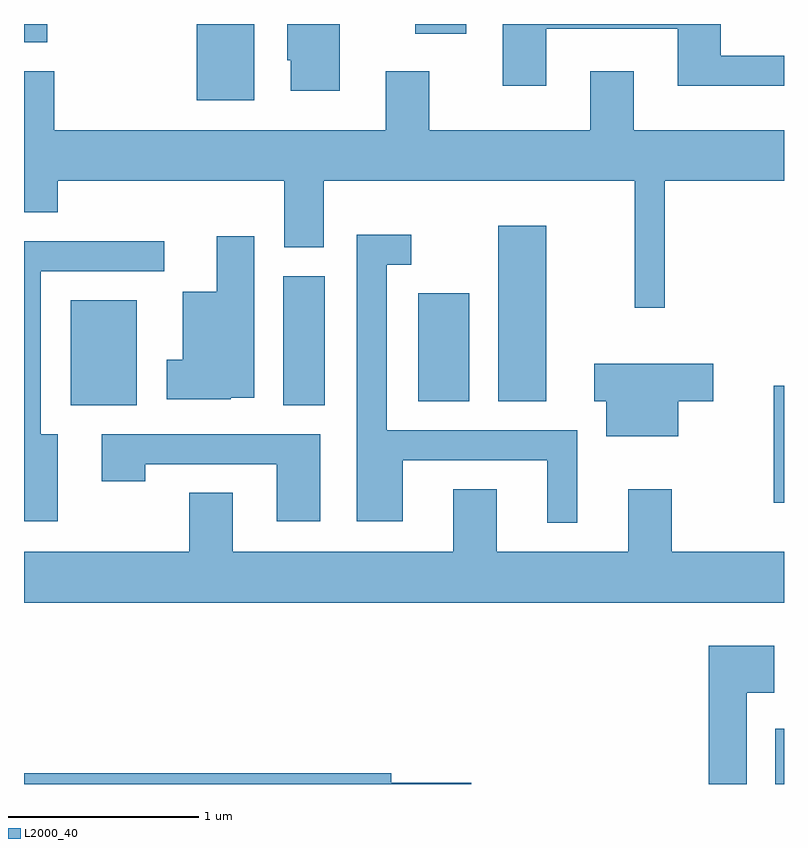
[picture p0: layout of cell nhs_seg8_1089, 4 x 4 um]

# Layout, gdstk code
import gdstk
lib = gdstk.Library(unit=1e-6, precision=1e-09)
def R(c, l, rs):  # rectangles x0, y0, x1, y1
    for r in rs: c.add(gdstk.rectangle(r[:2], r[2:], *l))
def P(c, l, *ps):  # polygons
    for p in ps: c.add(gdstk.Polygon(p, *l))
L2000_40 = (2000, 40)

nhs_seg8_1089 = lib.new_cell('nhs_seg8_1089')
R(nhs_seg8_1089, L2000_40, [(221.566,1844.342,221.611,1844.634), (221.556,1845.821,221.611,1846.439), (217.856,1846.336,218.204,1846.889), (218.976,1846.336,219.194,1847.014), (219.686,1846.356,219.954,1846.924), (220.106,1846.356,220.359,1847.279), (218.521,1847.941,218.824,1848.342), (217.611,1848.246,217.734,1848.342), (219.671,1848.291,219.939,1848.342)])
P(nhs_seg8_1089, L2000_40, [(219.274,1848.342),(218.996,1848.342),(218.996,1848.151),(219.016,1848.151),(219.016,1847.991),(219.274,1847.991)],
  [(220.359,1848.316),(221.051,1848.316),(221.051,1848.016),(221.611,1848.016),(221.611,1848.174),(221.279,1848.174),(221.279,1848.342),(220.131,1848.342),(220.131,1848.016),(220.359,1848.016)],
  [(220.984,1847.516),(221.611,1847.516),(221.611,1847.784),(220.819,1847.784),(220.819,1848.094),(220.591,1848.094),(220.591,1847.784),(219.744,1847.784),(219.744,1848.094),(219.516,1848.094),(219.516,1847.784),(217.769,1847.784),(217.769,1848.094),(217.611,1848.094),(217.611,1847.351),(217.789,1847.351),(217.789,1847.516),(218.981,1847.516),(218.981,1847.166),(219.189,1847.166),(219.189,1847.516),(220.826,1847.516),(220.826,1846.848),(220.984,1846.848)],
  [(220.524,1846.204),(219.519,1846.204),(219.519,1847.076),(219.648,1847.076),(219.648,1847.234),(219.361,1847.234),(219.361,1845.726),(219.604,1845.726),(219.604,1846.046),(220.366,1846.046),(220.366,1845.718),(220.524,1845.718)],
  [(218.7,1846.376),(218.824,1846.376),(218.824,1847.224),(218.626,1847.224),(218.626,1846.934),(218.446,1846.934),(218.446,1846.574),(218.361,1846.574),(218.361,1846.366),(218.7,1846.366)],
  [(217.789,1846.184),(217.699,1846.184),(217.699,1847.041),(218.348,1847.041),(218.348,1847.199),(217.611,1847.199),(217.611,1845.726),(217.789,1845.726)],
  [(221.054,1846.356),(221.239,1846.356),(221.239,1846.554),(220.611,1846.554),(220.611,1846.356),(220.676,1846.356),(220.676,1846.171),(221.054,1846.171)],
  [(219.169,1846.184),(218.021,1846.184),(218.021,1845.936),(218.249,1845.936),(218.249,1846.026),(218.941,1846.026),(218.941,1845.726),(219.169,1845.726)],
  [(221.611,1845.564),(221.019,1845.564),(221.019,1845.894),(220.791,1845.894),(220.791,1845.564),(220.099,1845.564),(220.099,1845.894),(219.871,1845.894),(219.871,1845.564),(218.709,1845.564),(218.709,1845.874),(218.481,1845.874),(218.481,1845.564),(217.611,1845.564),(217.611,1845.296),(221.611,1845.296)],
  [(221.414,1844.821),(221.559,1844.821),(221.559,1845.069),(221.216,1845.069),(221.216,1844.342),(221.414,1844.342)],
  [(219.964,1844.349),(219.544,1844.349),(219.544,1844.399),(217.611,1844.399),(217.611,1844.342),(219.964,1844.342)])

lib.write_gds('nhs_seg8_1089.gds')
